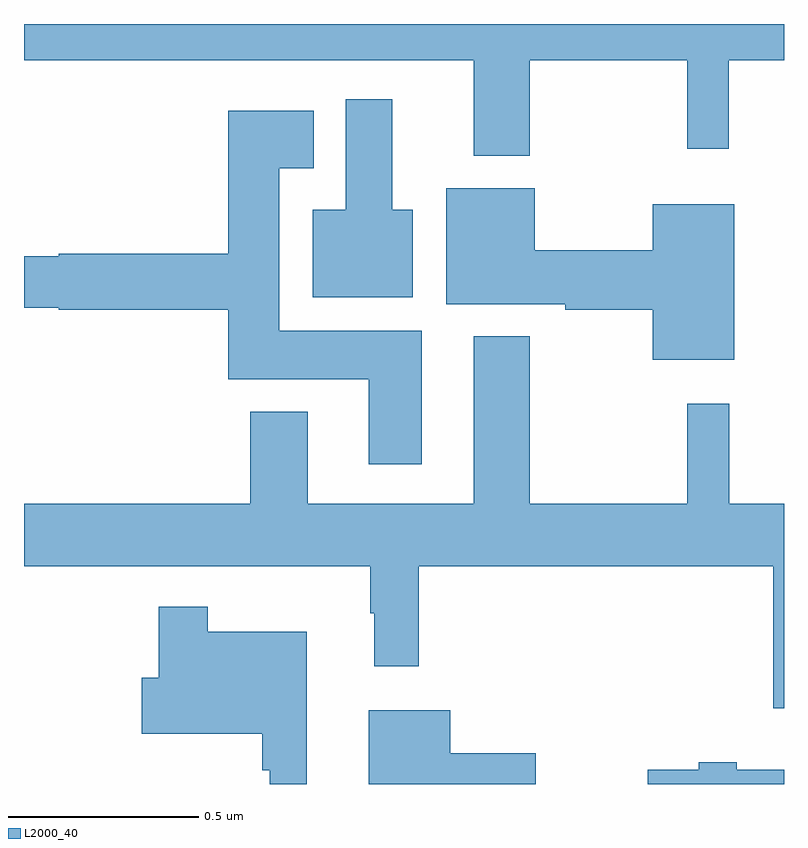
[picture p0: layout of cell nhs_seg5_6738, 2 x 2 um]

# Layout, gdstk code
import gdstk
lib = gdstk.Library(unit=1e-6, precision=1e-09)
def P(c, l, *ps):  # polygons
    for p in ps: c.add(gdstk.Polygon(p, *l))
L2000_40 = (2000, 40)

nhs_seg5_6738 = lib.new_cell('nhs_seg5_6738')
P(nhs_seg5_6738, L2000_40, [(200.331,912.704),(200.745,912.704),(200.745,912.471),(200.855,912.471),(200.855,912.704),(201,912.704),(201,912.799),(199,912.799),(199,912.704),(200.183,912.704),(200.183,912.452),(200.331,912.452)],
  [(200.023,912.31),(199.969,912.31),(199.969,912.601),(199.847,912.601),(199.847,912.31),(199.76,912.31),(199.76,912.08),(200.023,912.08)],
  [(200.047,911.992),(199.672,911.992),(199.672,912.419),(199.762,912.419),(199.762,912.571),(199.538,912.571),(199.538,912.194),(199.092,912.194),(199.092,912.188),(199,912.188),(199,912.052),(199.092,912.052),(199.092,912.047),(199.538,912.047),(199.538,911.864),(199.907,911.864),(199.907,911.64),(200.047,911.64)],
  [(200.869,912.325),(200.654,912.325),(200.654,912.203),(200.344,912.203),(200.344,912.367),(200.111,912.367),(200.111,912.062),(200.424,912.062),(200.424,912.047),(200.654,912.047),(200.654,911.915),(200.869,911.915)],
  [(199.747,911.779),(199.595,911.779),(199.595,911.536),(199,911.536),(199,911.372),(199.911,911.372),(199.911,911.249),(199.922,911.249),(199.922,911.109),(200.039,911.109),(200.039,911.372),(200.972,911.372),(200.972,910.998),(201,910.998),(201,911.536),(200.856,911.536),(200.856,911.8),(200.745,911.8),(200.745,911.536),(200.331,911.536),(200.331,911.977),(200.183,911.977),(200.183,911.536),(199.747,911.536)],
  [(199.744,911.2),(199.483,911.2),(199.483,911.266),(199.354,911.266),(199.354,911.079),(199.31,911.079),(199.31,910.931),(199.627,910.931),(199.627,910.835),(199.647,910.835),(199.647,910.799),(199.744,910.799)],
  [(200.347,910.88),(200.122,910.88),(200.122,910.993),(199.907,910.993),(199.907,910.799),(200.347,910.799)],
  [(201,910.837),(200.876,910.837),(200.876,910.856),(200.776,910.856),(200.776,910.836),(200.642,910.836),(200.642,910.799),(201,910.799)])

lib.write_gds('nhs_seg5_6738.gds')
